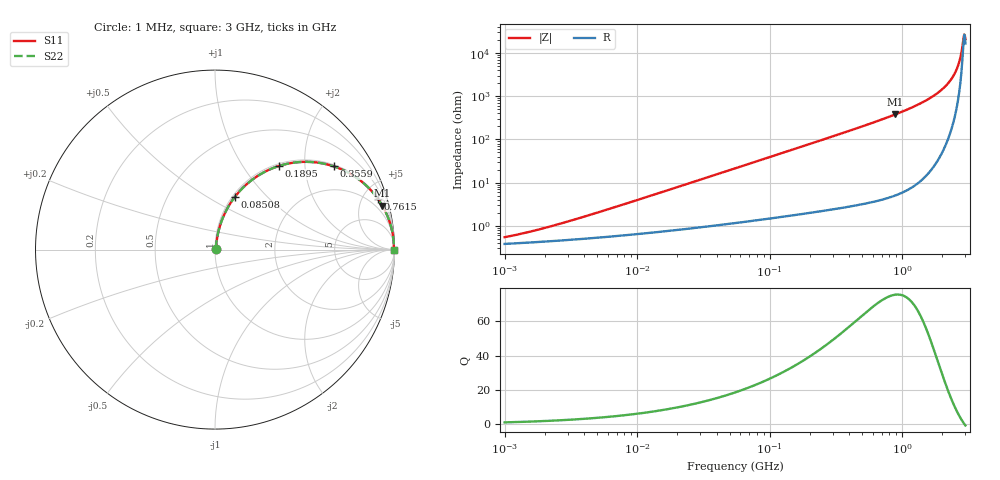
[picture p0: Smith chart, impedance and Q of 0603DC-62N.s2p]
# MHz  S  MA  R  50
!Freq  MagS11  AngS11  MagS21  AngS21  MagS12  AngS12  MagS22  AngS22
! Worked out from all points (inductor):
!   801 points, 1 MHz to 3 GHz, reference 50 ohm
!   read as one part in series: L = 62 nH near 3.862 MHz
!   highest Q = 75.5 at 884.8 MHz (marker M1), where L = 68.1 nH
!   self-resonance near 2.941 GHz
!   S11 on the Smith chart (normalised r, x): 1 MHz: 1.01, +0.01; 85.08 MHz: 1.03, +0.66; 189.5 MHz: 1.04, +1.48; 355.9 MHz: 1.05, +2.81; 761.5 MHz: 1.09, +6.36; 3 GHz: open
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1  0.005428 45.4  0.9962 -0.2  0.9962 -0.2  0.005428 45.4
1.786863  0.008104 58.4  0.9958 -0.4  0.9958 -0.4  0.008104 58.4
3.823119  0.01562 70.7  0.9949 -0.8  0.9949 -0.8  0.01562 70.7
14.47069  0.05634 79.5  0.9913 -3.2  0.9913 -3.2  0.05634 79.5
54.77226  0.2068 75.0  0.9673 -11.9  0.9673 -11.9  0.2068 75.0
85.07507  0.3112 69.5  0.9375 -18.1  0.9375 -18.1  0.3112 69.5
126.9575  0.4385 62.1  0.8845 -26.0  0.8845 -26.0  0.4385 62.1
189.4586  0.5882 52.5  0.7934 -36.0  0.7934 -36.0  0.5882 52.5
209.4008  0.6266 49.8  0.764 -38.8  0.764 -38.8  0.6266 49.8
355.908  0.8081 35.0  0.5742 -53.9  0.5742 -53.9  0.8081 35.0
520.5962  0.897 25.4  0.4284 -63.7  0.4284 -63.7  0.897 25.4
761.4901  0.9502 17.4  0.2989 -71.8  0.2989 -71.8  0.9502 17.4
792.5923  0.9542 16.7  0.2867 -72.6  0.2867 -72.6  0.9542 16.7
884.8309  0.9637 14.7  0.2544 -74.5  0.2544 -74.5  0.9637 14.7
1534.307  0.9905 6.9  0.1209 -82.0  0.1209 -82.0  0.9905 6.9
1855.641  0.9943 4.8  0.08311 -83.7  0.08311 -83.7  0.9943 4.8
2156.205  0.996 3.2  0.05525 -84.2  0.05525 -84.2  0.996 3.2
2383.164  0.9965 2.1  0.03737 -83.6  0.03737 -83.6  0.9965 2.1
2581.816  0.9967 1.3  0.02338 -81.2  0.02338 -81.2  0.9967 1.3
2714.296  0.9966 0.8  0.01482 -76.5  0.01482 -76.5  0.9966 0.8
2882.277  0.9965 0.2  0.00537 -48.5  0.00537 -48.5  0.9965 0.2
3000  0.9962 -0.2  0.004748 37.4  0.004748 37.4  0.9962 -0.2
